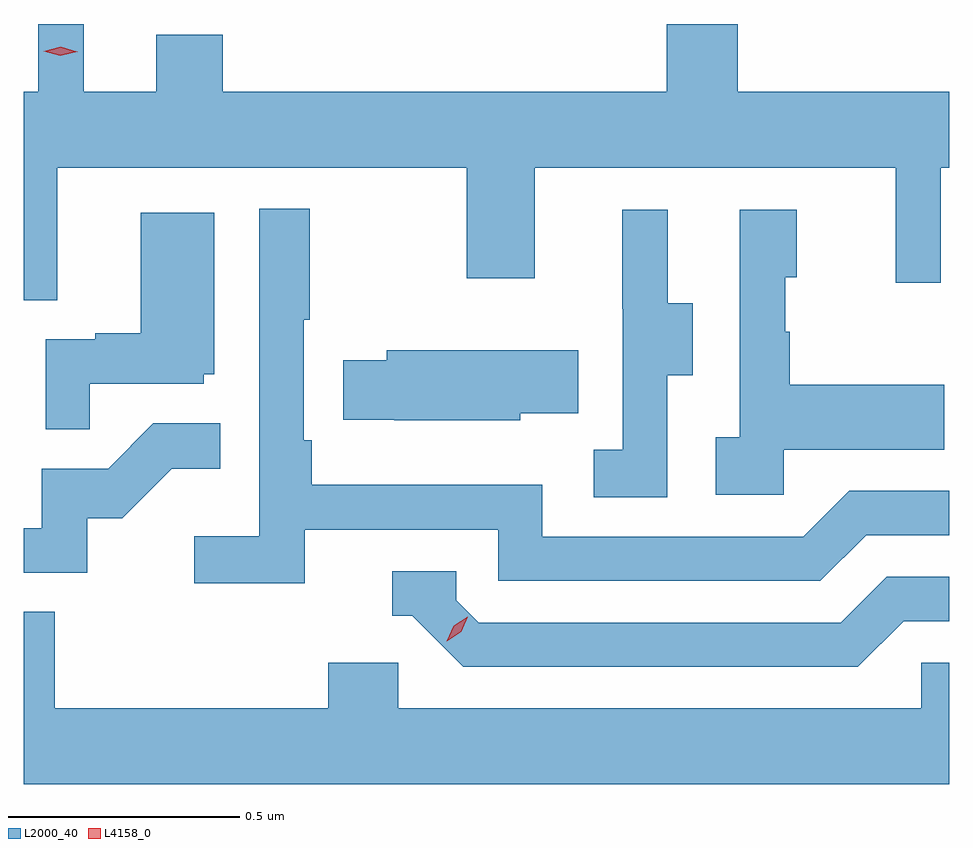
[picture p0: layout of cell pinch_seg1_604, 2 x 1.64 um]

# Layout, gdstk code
import gdstk
lib = gdstk.Library(unit=1e-6, precision=1e-09)
def P(c, l, *ps):  # polygons
    for p in ps: c.add(gdstk.Polygon(p, *l))
L2000_40 = (2000, 40)
L4158_0 = (4158, 0)

pinch_seg1_604 = lib.new_cell('pinch_seg1_604')
P(pinch_seg1_604, L2000_40, [(1062.043,513.104),(1062.928,513.104),(1062.928,512.865),(1063.075,512.865),(1063.075,513.104),(1063.856,513.104),(1063.856,512.856),(1063.953,512.856),(1063.953,513.104),(1063.971,513.104),(1063.971,513.268),(1063.514,513.268),(1063.514,513.415),(1063.361,513.415),(1063.361,513.268),(1062.401,513.268),(1062.401,513.392),(1062.257,513.392),(1062.257,513.268),(1062.1,513.268),(1062.1,513.415),(1062.002,513.415),(1062.002,513.268),(1061.971,513.268),(1061.971,512.818),(1062.043,512.818)],
  [(1062.578,512.322),(1062.996,512.322),(1062.996,512.211),(1063.693,512.211),(1063.792,512.31),(1063.971,512.31),(1063.971,512.406),(1063.755,512.406),(1063.656,512.307),(1063.092,512.307),(1063.092,512.419),(1062.593,512.419),(1062.593,512.515),(1062.576,512.515),(1062.576,512.776),(1062.589,512.776),(1062.589,513.016),(1062.48,513.016),(1062.48,512.308),(1062.339,512.308),(1062.339,512.206),(1062.578,512.206)],
  [(1063.362,512.656),(1063.417,512.656),(1063.417,512.811),(1063.363,512.811),(1063.363,513.013),(1063.265,513.013),(1063.265,512.799),(1063.266,512.799),(1063.266,512.495),(1063.203,512.495),(1063.203,512.392),(1063.362,512.392)],
  [(1063.614,512.495),(1063.961,512.495),(1063.961,512.635),(1063.627,512.635),(1063.627,512.75),(1063.617,512.75),(1063.617,512.868),(1063.642,512.868),(1063.642,513.013),(1063.518,513.013),(1063.518,512.522),(1063.467,512.522),(1063.467,512.397),(1063.614,512.397)],
  [(1062.113,512.637),(1062.36,512.637),(1062.36,512.658),(1062.382,512.658),(1062.382,513.007),(1062.224,513.007),(1062.224,512.746),(1062.125,512.746),(1062.125,512.733),(1062.018,512.733),(1062.018,512.539),(1062.113,512.539)],
  [(1063.044,512.573),(1063.169,512.573),(1063.169,512.71),(1062.755,512.71),(1062.755,512.688),(1062.661,512.688),(1062.661,512.559),(1062.772,512.559),(1062.772,512.558),(1063.044,512.558)],
  [(1062.108,512.346),(1062.184,512.346),(1062.291,512.453),(1062.395,512.453),(1062.395,512.552),(1062.251,512.552),(1062.153,512.454),(1062.009,512.454),(1062.009,512.325),(1061.971,512.325),(1061.971,512.229),(1062.108,512.229)],
  [(1063.873,512.124),(1063.971,512.124),(1063.971,512.22),(1063.836,512.22),(1063.737,512.121),(1062.954,512.121),(1062.906,512.169),(1062.906,512.232),(1062.767,512.232),(1062.767,512.136),(1062.81,512.136),(1062.921,512.025),(1063.774,512.025)],
  [(1063.971,512.034),(1063.911,512.034),(1063.911,511.936),(1062.78,511.936),(1062.78,512.034),(1062.629,512.034),(1062.629,511.936),(1062.038,511.936),(1062.038,512.144),(1061.971,512.144),(1061.971,511.772),(1063.971,511.772)])
P(pinch_seg1_604, L4158_0, [(1062.885,512.081),(1062.885,512.081),(1062.9,512.114),(1062.931,512.134),(1062.931,512.134),(1062.931,512.134),(1062.916,512.101),(1062.885,512.081)],
  [(1062.05,513.346),(1062.014,513.356),(1062.014,513.356),(1062.014,513.356),(1062.051,513.366),(1062.086,513.355),(1062.087,513.355),(1062.086,513.355)])

lib.write_gds('pinch_seg1_604.gds')
